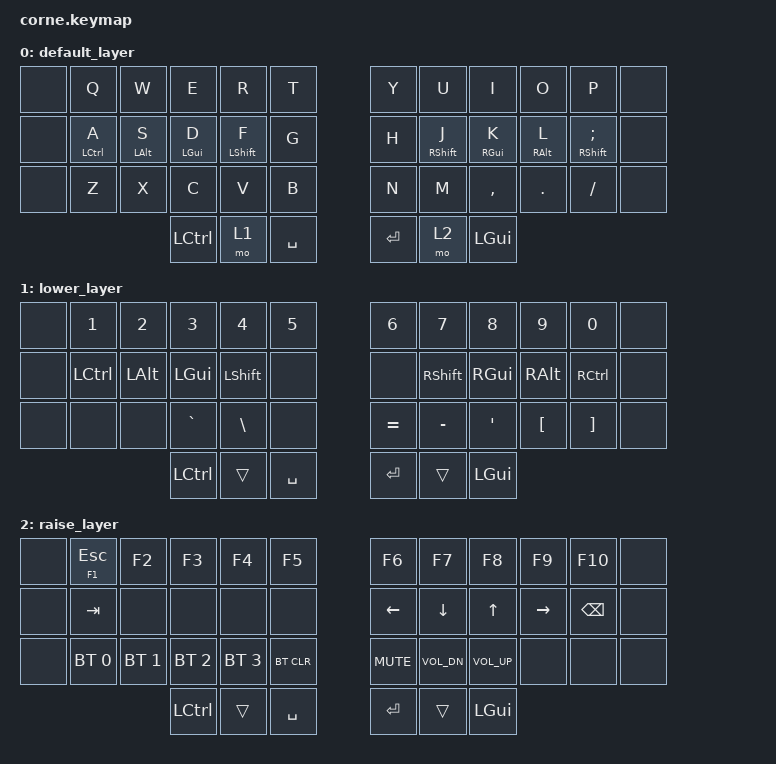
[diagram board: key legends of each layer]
/*
 * Copyright (c) 2020 The ZMK Contributors
 *
 * SPDX-License-Identifier: MIT
 */

#include <behaviors.dtsi>
#include <dt-bindings/zmk/bt.h>
#include <dt-bindings/zmk/keys.h>

/ {
    behaviors {
        hml: homerow_mods_left {
            compatible = "zmk,behavior-hold-tap";
            bindings = <&kp>, <&kp>;

            #binding-cells = <2>;
            tapping-term-ms = <200>;
            hold-trigger-key-positions = <18 6 7 6 7 8 9 10 11 18 19 20 21 22 23 30 31 32 33 34 35 39 40 41>;
            flavor = "balanced";
        };

        hmr: homerow_mods_right {
            compatible = "zmk,behavior-hold-tap";
            bindings = <&kp>, <&kp>;

            #binding-cells = <2>;
            tapping-term-ms = <200>;
            hold-trigger-key-positions = <0 1 2 3 4 5 12 13 14 15 16 17 24 25 26 27 28 29 36 37 38>;
            flavor = "balanced";
        };
    };

    combos {
        compatible = "zmk,combos";

        C_CAPSLOCK {
            bindings = <&kt CAPS>;
            key-positions = <13 14>;
            timeout-ms = <50>;
            layers = <2>;
            slow-release;
        };
    };

    keymap {
        compatible = "zmk,keymap";

        default_layer {
            // ---------------------------------------------   ----------------------------------------------
            // |  ESC Q  |    W    |    E   |    R   |  T  |   |  Y  |    U    |    I   |    O    |    P    |
            // |    A    |    S    |    D   |    F   |  G  |   |  H  |    J    |    K   |    L    |    ;    |
            // | LSHFT Z | LCTRL X | LALT C | LGUI V |  B  |   |  N  | RGUI  M | RALT , | RCTRL . | RSHFT / |
            // ---------------------------------------------   ----------------------------------------------
            //                          | LGUI | LWR | SPC |   | ENT | RSE  | RCTRL |
            //                          --------------------   ----------------------

            bindings = <
&none  &kp Q         &kp W            &kp E            &kp R              &kp T        &kp Y      &kp U               &kp I             &kp O             &kp P                       &none
&none  &hml LCTRL A  &hml LEFT_ALT S  &hml LEFT_GUI D  &hml LEFT_SHIFT F  &kp G        &kp H      &hmr RIGHT_SHIFT J  &hmr RIGHT_GUI K  &hmr RIGHT_ALT L  &hmr RIGHT_SHIFT SEMICOLON  &none
&none  &kp Z         &kp X            &kp C            &kp V              &kp B        &kp N      &kp M               &kp COMMA         &kp PERIOD        &kp SLASH                   &none
                                      &kp LCTRL        &mo 1              &kp SPACE    &kp ENTER  &mo 2               &kp LEFT_GUI
            >;
        };

        lower_layer {
            // -------------------------------   -------------------------------
            // |  !  |  @  |  #  |  $  |  %  |   |  ^  |  &  |  *  |  (  |  )  | 
            // |  1  |  2  |  3  |  4  |  5  |   |  -  |  _  |  '  |  [  |  ]  |
            // |  6  |  7  |  8  |  9  |  0  |   |  +  |  =  |  "  |  {  |  }  |
            // -------------------------------   -------------------------------
            //            | LGUI |     | SPC |   | ENT |     | RCTRL |
            //            --------------------   ---------------------

            bindings = <
&none  &kp NUMBER_1  &kp NUMBER_2  &kp NUMBER_3      &kp NUMBER_4    &kp NUMBER_5    &kp NUMBER_6  &kp NUMBER_7     &kp NUMBER_8      &kp NUMBER_9      &kp NUMBER_0       &none
&none  &kp LCTRL     &kp LEFT_ALT  &kp LEFT_GUI      &kp LEFT_SHIFT  &none           &none         &kp RIGHT_SHIFT  &kp RIGHT_GUI     &kp RIGHT_ALT     &kp RCTRL          &none
&none  &none         &none         &kp GRAVE         &kp BACKSLASH   &none           &kp EQUAL     &kp MINUS        &kp SINGLE_QUOTE  &kp LEFT_BRACKET  &kp RIGHT_BRACKET  &none
                                   &kp LEFT_CONTROL  &trans          &kp SPACE       &kp ENTER     &trans           &kp LEFT_GUI
            >;
        };

        raise_layer {
            // ------------------------------------------------------------------   -------------------------------------------------------------------
            // |     F1     |     F2     |     F3     |     F4     |     F5     |   |     F6     |     F7     |     F8     |     F9     |     F10     |
            // |  BT_SEL 0  |  BT_SEL 1  |  BT_SEL 2  |  BT_SEL 3  |  BT_SEL 4  |   |    LEFT    |    DOWN    |     UP     |    RIGHT   |      \      |
            // |   LSHFT    |  BT_PREV   |   BT_NEXT  |   BT_CLR   |            |   |    MUTE    |   VOL_DWN  |   VOL_UP   |      `     |     RALT    |
            // ------------------------------------------------------------------   -------------------------------------------------------------------
            //                                               | LGUI |     | SPC |   | ENT |     | RCTRL |
            //                                               --------------------   ---------------------

            bindings = <
&none  &hml F1 ESCAPE  &kp F2        &kp F3        &kp F4        &kp F5        &kp F6      &kp F7        &kp F8        &kp F9     &kp F10        &none
&none  &kp TAB         &none         &none         &none         &none         &kp LEFT    &kp DOWN      &kp UP        &kp RIGHT  &kp BACKSPACE  &none
&none  &bt BT_SEL 0    &bt BT_SEL 1  &bt BT_SEL 2  &bt BT_SEL 3  &bt BT_CLR    &kp C_MUTE  &kp C_VOL_DN  &kp C_VOL_UP  &none      &none          &none
                                     &kp LCTRL     &trans        &kp SPACE     &kp ENTER   &trans        &kp LEFT_GUI
            >;
        };
    };
};

